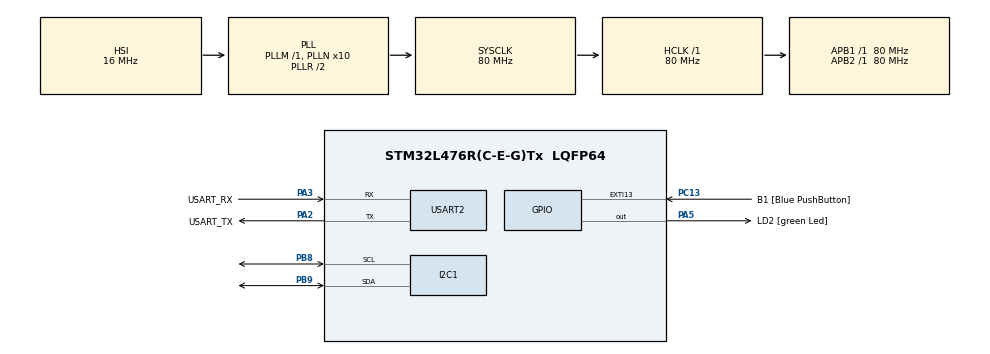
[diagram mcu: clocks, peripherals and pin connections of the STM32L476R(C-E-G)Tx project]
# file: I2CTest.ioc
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I2C1.Timing=0x10909CEC
Mcu.Family=STM32L4
Mcu.Name=STM32L476R(C-E-G)Tx
Mcu.Package=LQFP64
NVIC.PriorityGroup=NVIC_PRIORITYGROUP_4
PA13\ (JTMS-SWDIO).GPIO_Label=TMS
PA13\ (JTMS-SWDIO).Mode=Serial_Wire
PA13\ (JTMS-SWDIO).Signal=SYS_JTMS-SWDIO
PA14\ (JTCK-SWCLK).GPIO_Label=TCK
PA14\ (JTCK-SWCLK).Mode=Serial_Wire
PA14\ (JTCK-SWCLK).Signal=SYS_JTCK-SWCLK
PA2.GPIO_Label=USART_TX
PA2.GPIO_Mode=GPIO_MODE_AF_PP
PA2.GPIO_PuPd=GPIO_NOPULL
PA2.GPIO_Speed=GPIO_SPEED_FREQ_VERY_HIGH
PA2.Mode=Asynchronous
PA2.Signal=USART2_TX
PA3.GPIO_Label=USART_RX
PA3.GPIO_Mode=GPIO_MODE_AF_PP
PA3.GPIO_PuPd=GPIO_NOPULL
PA3.GPIO_Speed=GPIO_SPEED_FREQ_VERY_HIGH
PA3.Mode=Asynchronous
PA3.Signal=USART2_RX
PA5.GPIO_Label=LD2 [green Led]
PA5.GPIO_ModeDefaultOutputPP=GPIO_MODE_OUTPUT_PP
PA5.GPIO_PuPd=GPIO_NOPULL
PA5.GPIO_Speed=GPIO_SPEED_FREQ_LOW
PA5.Signal=GPIO_Output
PB8.Mode=I2C
PB8.Signal=I2C1_SCL
PB9.Mode=I2C
PB9.Signal=I2C1_SDA
PC13.GPIO_Label=B1 [Blue PushButton]
PC13.GPIO_ModeDefaultEXTI=GPIO_MODE_IT_FALLING
PC13.GPIO_PuPd=GPIO_NOPULL
PC13.Signal=GPXTI13
PC14-OSC32_IN\ (PC14).Mode=LSE-External-Oscillator
PC14-OSC32_IN\ (PC14).Signal=RCC_OSC32_IN
PC15-OSC32_OUT\ (PC15).Mode=LSE-External-Oscillator
PC15-OSC32_OUT\ (PC15).Signal=RCC_OSC32_OUT
PH0-OSC_IN\ (PH0).Signal=RCC_OSC_IN
PH1-OSC_OUT\ (PH1).Signal=RCC_OSC_OUT
ProjectManager.HeapSize=0x200
ProjectManager.StackSize=0x400
ProjectManager.TargetToolchain=STM32CubeIDE
RCC.ADCFreq_Value=64000000
RCC.AHBFreq_Value=80000000
RCC.APB1Freq_Value=80000000
RCC.APB1TimFreq_Value=80000000
RCC.APB2Freq_Value=80000000
RCC.APB2TimFreq_Value=80000000
RCC.CortexFreq_Value=80000000
RCC.HCLKFreq_Value=80000000
RCC.HSE_VALUE=8000000
RCC.HSI_VALUE=16000000
RCC.MSI_VALUE=4000000
RCC.PLLN=10
RCC.PLLSourceVirtual=RCC_PLLSOURCE_HSI
RCC.PREFETCH_ENABLE=1
RCC.SYSCLKFreq_VALUE=80000000
RCC.SYSCLKSource=RCC_SYSCLKSOURCE_PLLCLK
RCC.USBFreq_Value=64000000
RCC.VCOOutputFreq_Value=160000000
USART2.VirtualMode-Asynchronous=VM_ASYNC
board=NUCLEO-L476RG

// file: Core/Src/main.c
/* USER CODE BEGIN Header */
/**
  ******************************************************************************
  * @file           : main.c
  * @brief          : Main program body
  ******************************************************************************
  * @attention
  *
  * <h2><center>&copy; Copyright (c) 2020 STMicroelectronics.
  * All rights reserved.</center></h2>
  *
  * This software component is licensed by ST under BSD 3-Clause license,
  * the "License"; You may not use this file except in compliance with the
  * License. You may obtain a copy of the License at:
  *                        opensource.org/licenses/BSD-3-Clause
  *
  ******************************************************************************
  */
/* USER CODE END Header */
#include "main.h"

/* USER CODE BEGIN Includes */
#include <string.h>
#include <stdio.h>
/* USER CODE END Includes */

I2C_HandleTypeDef hi2c1;

UART_HandleTypeDef huart2;

/* USER CODE BEGIN PV */
static const uint8_t GAUGE_ADDR=0x64<<1;
static const uint8_t CTRL_REG=0x01; //register
static const uint8_t AUTO_MODE=0xF8; //data + prescaler à 1024
static const uint8_t SHUTDOWN=0xF9; //shutdown au registre B sans écraser
static const uint8_t VOLT_REG_MSB=0x08;
static const uint8_t VOLT_REG_LSB=0x09;
static const uint8_t AMP_REG_MSB=0x0E;
static const uint8_t AMP_REG_LSB=0x0F;
static const uint8_t COUL_REG_MSB=0x02;
static const uint8_t COUL_REG_LSB=0x03;

/* USER CODE END PV */

void SystemClock_Config(void);
static void MX_GPIO_Init(void);
static void MX_USART2_UART_Init(void);
static void MX_I2C1_Init(void);
HAL_StatusTypeDef Write_Register8(uint8_t register_pointer, uint8_t register_value);
HAL_StatusTypeDef Read_Register(uint8_t register_pointer, uint8_t* receive_buffer,int num_reg);
uint16_t read_register(uint8_t register_pointer);
void SetSOC(uint8_t valMSB,uint8_t valLSB);
uint16_t read_registerSOC(uint8_t REG_MSB, uint8_t REG_LSB);

int main(void)
{
  /* USER CODE BEGIN 1 */
	HAL_StatusTypeDef ret;
	float voltage;
	float current;
	int32_t current_int;
	float SOC;
	float DeltaQ;
	float SOCmax=17; //Ah - SOC max de la batterie
	float SOCpart;
	float qLSB=0.34*(50/6.08);
	uint8_t bufRx[3];
	uint16_t bufRx16;
	uint8_t msg[50];
  /* USER CODE END 1 */

  /* MCU Configuration--------------------------------------------------------*/

  /* Reset of all peripherals, Initializes the Flash interface and the Systick. */
  HAL_Init();

  /* Configure the system clock */
  SystemClock_Config();

  /* Initialize all configured peripherals */
  MX_GPIO_Init();
  MX_USART2_UART_Init();
  MX_I2C1_Init();
  /* USER CODE BEGIN 2 */
  while (HAL_I2C_IsDeviceReady(&hi2c1,GAUGE_ADDR,1,100)!=HAL_OK)
  {
	  strcpy((char*)msg,"I2C Device not ready.\r\n");
	  HAL_UART_Transmit(&huart2,msg,strlen((char*)msg),HAL_MAX_DELAY);
	  HAL_Delay(500);
  }

  	ret=Write_Register8(CTRL_REG,AUTO_MODE); //I2C Master Transmit
  	if (ret!=HAL_OK)
  	{
  		strcpy((char*)msg,"Control Register Automatic Mode Error.\r\n");
  		HAL_UART_Transmit(&huart2,msg,strlen((char*)msg),HAL_MAX_DELAY);
  	}
  	else //à partir de là on devrait avoir configurer le Control Register en Automatic Control, pour vérifer :
  	{
  		ret=Read_Register(CTRL_REG,bufRx,2); //attention au changement ici si PB
  		if (ret!=HAL_OK)
  		{
  			strcpy((char*)msg,"Automatic Mode Set Control Error.\r\n");
  			HAL_UART_Transmit(&huart2,msg,strlen((char*)msg),HAL_MAX_DELAY);
  		}
  		else
  		{
  			strcpy((char*)msg,"Automatic Mode Set Success.\r\n");
  			HAL_UART_Transmit(&huart2,msg,strlen((char*)msg),HAL_MAX_DELAY);
  		}
  	}

  	SetSOC(0x10,0x4E); //Valeur init à ...Ah ; Calcul : [Valeur/DeltaQ]_16 /!\ ATTENTION IL FAUT INVERSER MSB ET LSB : par exemple pour 0x44EF il faut mettre 0xEF et 0x44
  	HAL_Delay(500);

  	bufRx16=read_register(COUL_REG_MSB);

  	SOC=(bufRx16*qLSB)/1000.0;

  	sprintf((char*)msg,"Init SOC=%f",SOC);
  	HAL_UART_Transmit(&huart2,msg,strlen((char*)msg),HAL_MAX_DELAY);
  	HAL_Delay(50);
  	strcpy((char*)msg," Ah\r\n");
  	HAL_UART_Transmit(&huart2,msg,strlen((char*)msg),HAL_MAX_DELAY);
  	HAL_Delay(1000);

  /* USER CODE END 2 */

  /* Infinite loop */
  /* USER CODE BEGIN WHILE */
  while (1)
  {
	//VOLTAGE READ ->
	bufRx16=read_registerSOC(VOLT_REG_MSB,VOLT_REG_LSB);
	voltage=70.8*(bufRx16/65535.0);
	sprintf((char*)msg,"Voltage=%f V\r\n",voltage);
	HAL_UART_Transmit(&huart2,msg,strlen((char*)msg),HAL_MAX_DELAY);
	HAL_Delay(50);

	//CURRENT READ ->
	bufRx16=read_registerSOC(AMP_REG_MSB,AMP_REG_LSB);
	current=64.0*((float)(bufRx16-32767)/(float)(32767*6.08));
	//current=(current^2)^0.5;
	sprintf((char*)msg,"Current=%f A\r\n",current);
	HAL_UART_Transmit(&huart2,msg,strlen((char*)msg),HAL_MAX_DELAY);
	HAL_Delay(50);

	//SOC
	bufRx16=read_registerSOC(COUL_REG_MSB,COUL_REG_LSB); //A TESTER - attention ce n'est pas la même dans l'init

	//DeltaQ=(bufRx16-0x4E10)*qLSB; //(ACR-qOffset)*qLSB;
	SOC=(bufRx16*qLSB)/1000.0;

	sprintf((char*)msg,"SOC=%f Ah (/%f Ah)\r\n",SOC,SOCmax);
	HAL_UART_Transmit(&huart2,msg,strlen((char*)msg),HAL_MAX_DELAY);
	HAL_Delay(50);
	//calcul SOC pourcentage
	SOCpart=100*SOC/SOCmax;
	sprintf((char*)msg,"SOC=%f %% \r\n\n",SOCpart);
	HAL_UART_Transmit(&huart2,msg,strlen((char*)msg),HAL_MAX_DELAY);
	HAL_Delay(50);

	HAL_Delay(2000);
    /* USER CODE END WHILE */

  }
}

void SetSOC(uint8_t valMSB,uint8_t valLSB)
{
	HAL_StatusTypeDef ret;
	uint8_t msg[50];

	ret=Write_Register8(CTRL_REG,SHUTDOWN);
	if (ret==HAL_OK)
	{
		HAL_Delay(100);
		Write_Register8(COUL_REG_MSB,valMSB);
		ret=Write_Register8(COUL_REG_LSB,valLSB);
		if (ret==HAL_OK)
		{
			HAL_Delay(100);
			ret=Write_Register8(CTRL_REG,AUTO_MODE);
			if (ret==HAL_OK)
			{
				HAL_Delay(100);
				strcpy((char*)msg,"Setting Previous SOC Success.\r\n");
				HAL_UART_Transmit(&huart2,msg,strlen((char*)msg),HAL_MAX_DELAY);
			}
			else
			{
				strcpy((char*)msg,"Control Register Still Shutdown.\r\n");
				HAL_UART_Transmit(&huart2,msg,strlen((char*)msg),HAL_MAX_DELAY);
			}
		}
		else
		{
			strcpy((char*)msg,"ERROR: not setting previous SOC value.\r\n");
			HAL_UART_Transmit(&huart2,msg,strlen((char*)msg),HAL_MAX_DELAY);
		}
	}
	else
	{
		strcpy((char*)msg,"Control Register Not Shutdown - Retry.\r\n");
		HAL_UART_Transmit(&huart2,msg,strlen((char*)msg),HAL_MAX_DELAY);
	}
}

HAL_StatusTypeDef Write_Register8(uint8_t register_pointer, uint8_t register_value)
{
	uint8_t data[2];
	data[0]=register_pointer;
	data[1]=register_value;

	return HAL_I2C_Master_Transmit(&hi2c1,GAUGE_ADDR,data,2,HAL_MAX_DELAY);
}

//A retirer - NE PAS PRENDRE EN COMPTE POUR LE CODE FINAL - pourquoi pas le faire en deux fois ?
HAL_StatusTypeDef Read_Register(uint8_t register_pointer, uint8_t* receive_buffer,int num_reg) //num_reg est le nombre d'octet à récupérer (généralement 1 ou 2)
{
	HAL_I2C_Master_Transmit(&hi2c1, GAUGE_ADDR, &register_pointer,1,HAL_MAX_DELAY);
	return HAL_I2C_Master_Receive(&hi2c1, GAUGE_ADDR, receive_buffer,num_reg,HAL_MAX_DELAY);
}

uint16_t read_register(uint8_t register_pointer)
{
	HAL_StatusTypeDef ret;
	uint16_t return_value=0;
	uint8_t msg[20];

	ret=HAL_I2C_Mem_Read(&hi2c1,(uint16_t)GAUGE_ADDR,(uint16_t)register_pointer,I2C_MEMADD_SIZE_8BIT,&return_value,2,HAL_MAX_DELAY);
	if (ret!=HAL_OK)
	{
		strcpy((char*)msg,"Read Error.\r\n");
		HAL_UART_Transmit(&huart2,msg,strlen((char*)msg),HAL_MAX_DELAY);
	}
	return return_value;
}

uint16_t read_registerSOC(uint8_t REG_MSB, uint8_t REG_LSB)
{
	HAL_StatusTypeDef ret;
	uint16_t retMSB,retLSB;
	uint8_t msg[20];

	ret=HAL_I2C_Mem_Read(&hi2c1,(uint16_t)GAUGE_ADDR,(uint16_t)REG_MSB,I2C_MEMADD_SIZE_8BIT,&retMSB,1,HAL_MAX_DELAY);
	if (ret!=HAL_OK)
	{
		strcpy((char*)msg,"Read Error.\r\n");
		HAL_UART_Transmit(&huart2,msg,strlen((char*)msg),HAL_MAX_DELAY);
	}
	retMSB=retMSB<<8;

	ret=HAL_I2C_Mem_Read(&hi2c1,(uint16_t)GAUGE_ADDR,(uint16_t)REG_LSB,I2C_MEMADD_SIZE_8BIT,&retLSB,1,HAL_MAX_DELAY);
	if (ret!=HAL_OK)
	{
		strcpy((char*)msg,"Read Error.\r\n");
		HAL_UART_Transmit(&huart2,msg,strlen((char*)msg),HAL_MAX_DELAY);
	}

	return retMSB+retLSB;
}

void SystemClock_Config(void)
{
  RCC_OscInitTypeDef RCC_OscInitStruct = {0};
  RCC_ClkInitTypeDef RCC_ClkInitStruct = {0};
  RCC_PeriphCLKInitTypeDef PeriphClkInit = {0};

  /** Initializes the RCC Oscillators according to the specified parameters
  * in the RCC_OscInitTypeDef structure.
  */
  RCC_OscInitStruct.OscillatorType = RCC_OSCILLATORTYPE_HSI;
  RCC_OscInitStruct.HSIState = RCC_HSI_ON;
  RCC_OscInitStruct.HSICalibrationValue = RCC_HSICALIBRATION_DEFAULT;
  RCC_OscInitStruct.PLL.PLLState = RCC_PLL_ON;
  RCC_OscInitStruct.PLL.PLLSource = RCC_PLLSOURCE_HSI;
  RCC_OscInitStruct.PLL.PLLM = 1;
  RCC_OscInitStruct.PLL.PLLN = 10;
  RCC_OscInitStruct.PLL.PLLP = RCC_PLLP_DIV7;
  RCC_OscInitStruct.PLL.PLLQ = RCC_PLLQ_DIV2;
  RCC_OscInitStruct.PLL.PLLR = RCC_PLLR_DIV2;
  if (HAL_RCC_OscConfig(&RCC_OscInitStruct) != HAL_OK)
  {
    Error_Handler();
  }
  /** Initializes the CPU, AHB and APB buses clocks
  */
  RCC_ClkInitStruct.ClockType = RCC_CLOCKTYPE_HCLK|RCC_CLOCKTYPE_SYSCLK
                              |RCC_CLOCKTYPE_PCLK1|RCC_CLOCKTYPE_PCLK2;
  RCC_ClkInitStruct.SYSCLKSource = RCC_SYSCLKSOURCE_PLLCLK;
  RCC_ClkInitStruct.AHBCLKDivider = RCC_SYSCLK_DIV1;
  RCC_ClkInitStruct.APB1CLKDivider = RCC_HCLK_DIV1;
  RCC_ClkInitStruct.APB2CLKDivider = RCC_HCLK_DIV1;

  if (HAL_RCC_ClockConfig(&RCC_ClkInitStruct, FLASH_LATENCY_4) != HAL_OK)
  {
    Error_Handler();
  }
  PeriphClkInit.PeriphClockSelection = RCC_PERIPHCLK_USART2|RCC_PERIPHCLK_I2C1;
  PeriphClkInit.Usart2ClockSelection = RCC_USART2CLKSOURCE_PCLK1;
  PeriphClkInit.I2c1ClockSelection = RCC_I2C1CLKSOURCE_PCLK1;
  if (HAL_RCCEx_PeriphCLKConfig(&PeriphClkInit) != HAL_OK)
  {
    Error_Handler();
  }
  /** Configure the main internal regulator output voltage
  */
  if (HAL_PWREx_ControlVoltageScaling(PWR_REGULATOR_VOLTAGE_SCALE1) != HAL_OK)
  {
    Error_Handler();
  }
}

static void MX_I2C1_Init(void)
{

  hi2c1.Instance = I2C1;
  hi2c1.Init.Timing = 0x10909CEC;
  hi2c1.Init.OwnAddress1 = 0;
  hi2c1.Init.AddressingMode = I2C_ADDRESSINGMODE_7BIT;
  hi2c1.Init.DualAddressMode = I2C_DUALADDRESS_DISABLE;
  hi2c1.Init.OwnAddress2 = 0;
  hi2c1.Init.OwnAddress2Masks = I2C_OA2_NOMASK;
  hi2c1.Init.GeneralCallMode = I2C_GENERALCALL_DISABLE;
  hi2c1.Init.NoStretchMode = I2C_NOSTRETCH_DISABLE;
  if (HAL_I2C_Init(&hi2c1) != HAL_OK)
  {
    Error_Handler();
  }
  /** Configure Analogue filter
  */
  if (HAL_I2CEx_ConfigAnalogFilter(&hi2c1, I2C_ANALOGFILTER_ENABLE) != HAL_OK)
  {
    Error_Handler();
  }
  /** Configure Digital filter
  */
  if (HAL_I2CEx_ConfigDigitalFilter(&hi2c1, 0) != HAL_OK)
  {
    Error_Handler();
  }

}

static void MX_USART2_UART_Init(void)
{

  huart2.Instance = USART2;
  huart2.Init.BaudRate = 115200;
  huart2.Init.WordLength = UART_WORDLENGTH_8B;
  huart2.Init.StopBits = UART_STOPBITS_1;
  huart2.Init.Parity = UART_PARITY_NONE;
  huart2.Init.Mode = UART_MODE_TX_RX;
  huart2.Init.HwFlowCtl = UART_HWCONTROL_NONE;
  huart2.Init.OverSampling = UART_OVERSAMPLING_16;
  huart2.Init.OneBitSampling = UART_ONE_BIT_SAMPLE_DISABLE;
  huart2.AdvancedInit.AdvFeatureInit = UART_ADVFEATURE_NO_INIT;
  if (HAL_UART_Init(&huart2) != HAL_OK)
  {
    Error_Handler();
  }

}

static void MX_GPIO_Init(void)
{
  GPIO_InitTypeDef GPIO_InitStruct = {0};

  /* GPIO Ports Clock Enable */
  __HAL_RCC_GPIOC_CLK_ENABLE();
  __HAL_RCC_GPIOH_CLK_ENABLE();
  __HAL_RCC_GPIOA_CLK_ENABLE();
  __HAL_RCC_GPIOB_CLK_ENABLE();

  /*Configure GPIO pin Output Level */
  HAL_GPIO_WritePin(LD2_GPIO_Port, LD2_Pin, GPIO_PIN_RESET);

  /*Configure GPIO pin : B1_Pin */
  GPIO_InitStruct.Pin = B1_Pin;
  GPIO_InitStruct.Mode = GPIO_MODE_IT_FALLING;
  GPIO_InitStruct.Pull = GPIO_NOPULL;
  HAL_GPIO_Init(B1_GPIO_Port, &GPIO_InitStruct);

  /*Configure GPIO pin : LD2_Pin */
  GPIO_InitStruct.Pin = LD2_Pin;
  GPIO_InitStruct.Mode = GPIO_MODE_OUTPUT_PP;
  GPIO_InitStruct.Pull = GPIO_NOPULL;
  GPIO_InitStruct.Speed = GPIO_SPEED_FREQ_LOW;
  HAL_GPIO_Init(LD2_GPIO_Port, &GPIO_InitStruct);

}

void Error_Handler(void)
{
}

/************************ (C) COPYRIGHT STMicroelectronics *****END OF FILE****/
